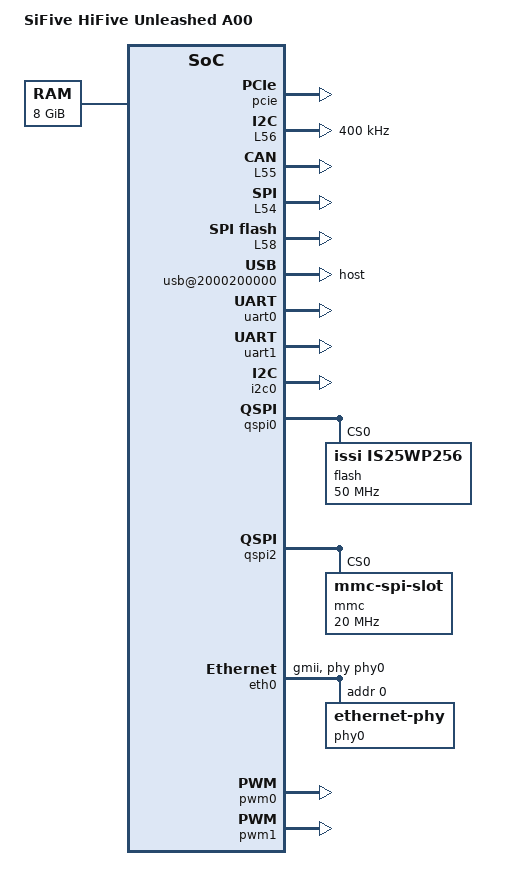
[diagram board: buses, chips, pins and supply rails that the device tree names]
// SPDX-License-Identifier: (GPL-2.0 OR MIT)
/* Copyright (c) 2018-2019 SiFive, Inc */

#include "fu540-c000.dtsi"

/* Clock frequency (in Hz) of the PCB crystal for rtcclk */
#define RTCCLK_FREQ		1000000

/ {
	#address-cells = <2>;
	#size-cells = <2>;
	model = "SiFive HiFive Unleashed A00";
	compatible = "sifive,hifive-unleashed-a00", "sifive,fu540-c000";

	chosen {
		stdout-path = "serial0";
	};

	cpus {
		timebase-frequency = <RTCCLK_FREQ>;
	};

	memory@80000000 {
		device_type = "memory";
		reg = <0x0 0x80000000 0x2 0x00000000>;
	};

	soc {
	};

	hfclk: hfclk {
		#clock-cells = <0>;
		compatible = "fixed-clock";
		clock-frequency = <33333333>;
		clock-output-names = "hfclk";
	};

	rtcclk: rtcclk {
		#clock-cells = <0>;
		compatible = "fixed-clock";
		clock-frequency = <RTCCLK_FREQ>;
		clock-output-names = "rtcclk";
	};

	xclk: xclk {
		compatible = "fixed-clock";
		#clock-cells = <1>;
		clock-frequency = <75000000>;
		clock-output-name = "xlck";
	};

	L40: chiplink@40000000 {
		#address-cells = <2>;
		#size-cells = <2>;
		compatible = "sifive,chiplink", "simple-bus";
		ranges = <0x0 0x60000000 0x0 0x60000000 0x0 0x20000000 0x30 0x0 0x30 0x0 0x10 0x0 0x0 0x40000000 0x0 0x40000000 0x0 0x20000000 0x20 0x0 0x20 0x0 0x10 0x0>;
	};

	pcie: pcie@2030000000 {
		#address-cells = <0x3>;
		#interrupt-cells = <0x1>;
		#size-cells = <0x2>;
		compatible = "microchip,pcie-host-1.0";
		device_type = "pci";
		bus-range = <0x00 0x7f>;
		interrupt-map = <0 0 0 1 &pcie 0 0 0 0 2 &pcie 1 0 0 0 3 &pcie 2 0 0 0 4 &pcie 3>;
		interrupt-map-mask = <0 0 0 7>;
		interrupt-parent = <&plic0>;
		interrupts = <32>;
		ranges = <0x03000000 0x0 0x40000000 0x0 0x40000000 0x0 0x20000000>;
	        dma-ranges = <0x02000000 0x0 0x00000000 0x0 0x00000000 0x1 0x00000000>;
		reg = <0x20 0x30000000 0x0 0x4000000 0x20 0x0 0x0 0x100000>;
		reg-names = "cfg", "apb";
		interrupt-controller;
		};
	
	L56: i2c@2000100000 {
		#address-cells = <1>;
		#size-cells = <0>;
		compatible = "microsemi,ms-pf-mss-i2c";
		reg = <0x20 0x00100000 0x0 0x1000>;
		interrupt-parent = <&plic0>;
		interrupts = <32>;
		clocks = <&prci PRCI_CLK_TLCLK>;
		clock-frequency = <400000>;
	};

	L57: gpio@2000103000 {
		compatible = "microsemi,ms-pf-mss-gpio";
		interrupt-parent = <&plic0>;
		interrupts = <7 7 7 7 7 7 7>;
		gpio-controller;
		reg = <0x20 0x00103000 0x0 0x1000>;
		reg-names = "control";
		#gpio-cells = <2>;
		#status = "okay";
	};

	L55: can@2000105000 {
		#address-cells = <1>;
		#size-cells = <0>;
		compatible = "microsemi,ms-pf-mss-can-uio";
		reg = <0x20 0x00105000 0x0 0x1000>;
		interrupt-parent = <&plic0>;
		clocks = <&prci PRCI_CLK_TLCLK>;
		interrupts = <32>;
	};

	L54: spi@2000107000 {
		compatible = "microsemi,ms-pf-mss-spi";
		interrupt-parent = <&plic0>;
		interrupts = <32>;
		reg = <0x20 0x00107000 0 0x1000>;
		clocks = <&prci PRCI_CLK_TLCLK>;
		spi-max-frequency = <25000000>;
		#address-cells = <1>;
		#size-cells = <0>;
		num-cs = <8>;
		status = "okay";
	};

	L58: qspi@2000400000 {
		compatible = "microsemi,ms-pf-mss-qspi";
		interrupt-parent = <&plic0>;
		interrupts = <32>;
		reg = <0x20 0x00400000 0 0x1000>;
		clocks = <&prci PRCI_CLK_TLCLK>;
		spi-max-frequency = <25000000>;
		#address-cells = <1>;
		#size-cells = <0>;
		num-cs = <8>;
		status = "okay";
	};
	
	usb@2000200000 {
		compatible = "microsemi,ms-pf-usb-host";
		reg = <0x00000020 0x00200000 0x00000000 0x00001000>;
		reg-names = "mc","control";
		interrupt-parent = <0xb>;
		interrupts = <0x20 0x20>;
		interrupt-names = "mc","dma";
		dr_mode = "host";
		multipoint = <1>;
		num-eps = <8>;
		ram-bits = <12>;
		power = <500>;
		status = "ok";
	};
};

&uart0 {
	status = "okay";
};

&uart1 {
	status = "okay";
};

&i2c0 {
	status = "okay";
};

&qspi0 {
	status = "okay";
	flash@0 {
		compatible = "issi,is25wp256", "jedec,spi-nor";
		reg = <0>;
		spi-max-frequency = <50000000>;
		m25p,fast-read;
		spi-tx-bus-width = <4>;
		spi-rx-bus-width = <4>;
	};
};

&qspi2 {
	status = "okay";
	mmc@0 {
		compatible = "mmc-spi-slot";
		reg = <0>;
		spi-max-frequency = <20000000>;
		voltage-ranges = <3300 3300>;
		disable-wp;
	};
};

&eth0 {
	status = "okay";
	phy-mode = "gmii";
	phy-handle = <&phy0>;
	phy0: ethernet-phy@0 {
		reg = <0>;
	};
};

&pwm0 {
	status = "okay";
};

&pwm1 {
	status = "okay";
};
